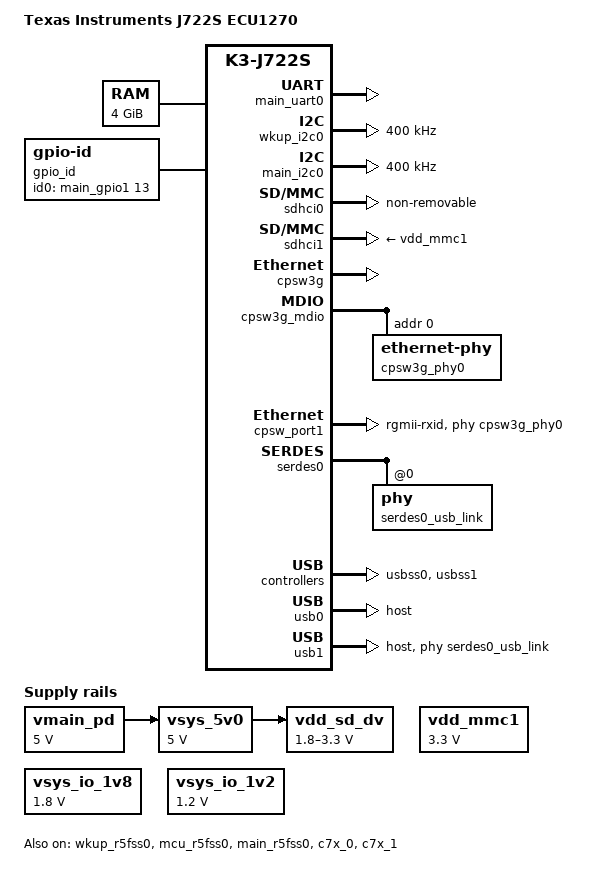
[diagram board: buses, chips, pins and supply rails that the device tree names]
// SPDX-License-Identifier: GPL-2.0-only OR MIT
/*
 * Device Tree file for the J722S ECU1270
 * Copyright (C) 2024 Texas Instruments Incorporated - https://www.ti.com/
 *
 * Schematics: https://www.ti.com/lit/zip/sprr495
 */

/dts-v1/;

#include <dt-bindings/net/ti-dp83867.h>
#include <dt-bindings/phy/phy.h>
#include "k3-j722s.dtsi"

#include "k3-serdes.h"

/ {
	compatible = "ti,j722s-ecu1270", "ti,j722s";
	model = "Texas Instruments J722S ECU1270";

	aliases {
		serial0 = &wkup_uart0;
		serial2 = &main_uart0;
        i2c0 = &main_i2c0;
        i2c1 = &wkup_i2c0;
        i2c3 = &main_i2c3;
		mmc0 = &sdhci0;
		mmc1 = &sdhci1;
		usb0 = &usb0;
		usb1 = &usb1;
		gpio0 = &main_gpio0;
		gpio1 = &main_gpio1;
	};

	chosen {
		stdout-path = &main_uart0;
	};

	memory@80000000 {
		/* 4G RAM */
		reg = <0x00000000 0x80000000 0x00000000 0x80000000>,
		      <0x00000008 0x80000000 0x00000000 0x80000000>;
		device_type = "memory";
		bootph-all;
	};

	reserved_memory: reserved-memory {
		#address-cells = <2>;
		#size-cells = <2>;
		ranges;

		secure_tfa_ddr: tfa@9e780000 {
			reg = <0x00 0x9e780000 0x00 0x80000>;
			no-map;
		};

		secure_ddr: optee@9e800000 {
			reg = <0x00 0x9e800000 0x00 0x01800000>;
			no-map;
		};

		wkup_r5fss0_core0_dma_memory_region: r5f-dma-memory@a0000000 {
			compatible = "shared-dma-pool";
			reg = <0x00 0xa0000000 0x00 0x100000>;
			no-map;
		};

		wkup_r5fss0_core0_memory_region: r5f-memory@a0100000 {
			compatible = "shared-dma-pool";
			reg = <0x00 0xa0100000 0x00 0xf00000>;
			no-map;
		};

		mcu_r5fss0_core0_dma_memory_region: mcu-r5fss-dma-memory-region@a1000000 {
			compatible = "shared-dma-pool";
			reg = <0x00 0xa1000000 0x00 0x100000>;
			no-map;
		};

		mcu_r5fss0_core0_memory_region: mcu-r5fss-memory-region@a1100000 {
			compatible = "shared-dma-pool";
			reg = <0x00 0xa1100000 0x00 0xf00000>;
			no-map;
		};

		main_r5fss0_core0_dma_memory_region: main-r5fss-dma-memory-region@a2000000 {
			compatible = "shared-dma-pool";
			reg = <0x00 0xa2000000 0x00 0x100000>;
			no-map;
		};

		main_r5fss0_core0_memory_region: main-r5fss-memory-region@a2100000 {
			compatible = "shared-dma-pool";
			reg = <0x00 0xa2100000 0x00 0xf00000>;
			no-map;
		};

		c7x_0_dma_memory_region: c7x-dma-memory@a3000000 {
			compatible = "shared-dma-pool";
			reg = <0x00 0xa3000000 0x00 0x100000>;
			no-map;
		};

		c7x_0_memory_region: c7x-memory@a3100000 {
			compatible = "shared-dma-pool";
			reg = <0x00 0xa3100000 0x00 0xf00000>;
			no-map;
		};

		c7x_1_dma_memory_region: c7x-dma-memory@a4000000 {
			compatible = "shared-dma-pool";
			reg = <0x00 0xa4000000 0x00 0x100000>;
			no-map;
		};

		c7x_1_memory_region: c7x-memory@a4100000 {
			compatible = "shared-dma-pool";
			reg = <0x00 0xa4100000 0x00 0xf00000>;
			no-map;
		};

		rtos_ipc_memory_region: ipc-memories@a5000000 {
			reg = <0x00 0xa5000000 0x00 0x00800000>; // 2G
			//reg = <0x00 0xa5000000 0x00 0x1c00000>; // 4G
			alignment = <0x1000>;
			no-map;
		};
	};

	vmain_pd: regulator-0 {
		/* TPS65988 PD CONTROLLER OUTPUT */
		compatible = "regulator-fixed";
		regulator-name = "vmain_pd";
		regulator-min-microvolt = <5000000>;
		regulator-max-microvolt = <5000000>;
		regulator-always-on;
		regulator-boot-on;
		bootph-all;
	};

	vsys_5v0: regulator-vsys5v0 {
		/* Output of LM5140 */
		compatible = "regulator-fixed";
		regulator-name = "vsys_5v0";
		regulator-min-microvolt = <5000000>;
		regulator-max-microvolt = <5000000>;
		vin-supply = <&vmain_pd>;
		regulator-always-on;
		regulator-boot-on;
	};

	vdd_mmc1: regulator-mmc1 {
		/* TPS22918DBVR */
		compatible = "regulator-fixed";
		regulator-name = "vdd_mmc1";
		regulator-min-microvolt = <3300000>;
		regulator-max-microvolt = <3300000>;
		regulator-boot-on;
		bootph-all;
	};

	vdd_sd_dv: regulator-TLV71033 {
		compatible = "regulator-gpio";
		regulator-name = "tlv71033";
		pinctrl-names = "default";
		pinctrl-0 = <&vdd_sd_dv_pins_default>;
		regulator-min-microvolt = <1800000>;
		regulator-max-microvolt = <3300000>;
		regulator-boot-on;
		vin-supply = <&vsys_5v0>;
		gpios = <&main_gpio1 49 GPIO_ACTIVE_HIGH>;
		states = <1800000 0x0>,
			 <3300000 0x1>;
	};

	vsys_io_1v8: regulator-vsys-io-1v8 {
		compatible = "regulator-fixed";
		regulator-name = "vsys_io_1v8";
		regulator-min-microvolt = <1800000>;
		regulator-max-microvolt = <1800000>;
		regulator-always-on;
		regulator-boot-on;
	};

	vsys_io_1v2: regulator-vsys-io-1v2 {
		compatible = "regulator-fixed";
		regulator-name = "vsys_io_1v2";
		regulator-min-microvolt = <1200000>;
		regulator-max-microvolt = <1200000>;
		regulator-always-on;
		regulator-boot-on;
	};

	gpio_id: gpio-id {
		compatible = "gpio-id";
		gpio-id0 = <&main_gpio1 13 GPIO_ACTIVE_HIGH>;
		bootph-all;
	};
};

&main_pmx0 {

	main_i2c0_pins_default: main-i2c0-default-pins {
		pinctrl-single,pins = <
			J722S_IOPAD(0x01e0, PIN_INPUT_PULLUP, 0) /* (D23) I2C0_SCL */
			J722S_IOPAD(0x01e4, PIN_INPUT_PULLUP, 0) /* (B22) I2C0_SDA */
		>;
		bootph-all;
	};

	main_i2c3_pins_default: main-i2c3-default-pins {
		pinctrl-single,pins = <
			J722S_IOPAD(0x0118, PIN_INPUT_PULLUP, 6) /* (H26) MMC2_CLK.I2C3_SCL */
			J722S_IOPAD(0x0120, PIN_INPUT_PULLUP, 6) /* (F27) MMC2_CMD.I2C3_SDA */
		>;
		bootph-all;
	};

	main_uart0_pins_default: main-uart0-default-pins {
		pinctrl-single,pins = <
			J722S_IOPAD(0x01c8, PIN_INPUT, 0)	/* (F19) UART0_RXD */
			J722S_IOPAD(0x01cc, PIN_OUTPUT, 0)	/* (F20) UART0_TXD */
		>;
		bootph-all;
	};

	vdd_sd_dv_pins_default: vdd-sd-dv-default-pins {
		pinctrl-single,pins = <
			J722S_IOPAD(0x0244, PIN_OUTPUT, 7) /* (A24) MMC1_SDWP.GPIO1_49 */
		>;
		bootph-all;
	};

	main_mmc1_pins_default: main-mmc1-default-pins {
		pinctrl-single,pins = <
			J722S_IOPAD(0x023c, PIN_INPUT, 0) /* (H22) MMC1_CMD */
			J722S_IOPAD(0x0234, PIN_OUTPUT, 0) /* (H24) MMC1_CLK */
			J722S_IOPAD(0x0230, PIN_INPUT, 0) /* (H23) MMC1_DAT0 */
			J722S_IOPAD(0x022c, PIN_INPUT_PULLUP, 0) /* (H20) MMC1_DAT1 */
			J722S_IOPAD(0x0228, PIN_INPUT_PULLUP, 0) /* (J23) MMC1_DAT2 */
			J722S_IOPAD(0x0224, PIN_INPUT_PULLUP, 0) /* (H25) MMC1_DAT3 */
			J722S_IOPAD(0x0240, PIN_INPUT, 0) /* (B24) MMC1_SDCD */
		>;
		bootph-all;
	};

	main_usb1_pins_default: main-usb1-default-pins {
		pinctrl-single,pins = <
			J722S_IOPAD(0x0258, PIN_INPUT, 0) /* (B27) USB1_DRVVBUS */
		>;
	};

	mdio_pins_default: mdio-default-pins {
		pinctrl-single,pins = <
			J722S_IOPAD(0x0160, PIN_OUTPUT, 0) /* (AC24) MDIO0_MDC */
			J722S_IOPAD(0x015c, PIN_INPUT, 0) /* (AD25) MDIO0_MDIO */
		>;
	};

	rgmii1_pins_default: rgmii1-default-pins {
		pinctrl-single,pins = <
			J722S_IOPAD(0x014c, PIN_INPUT, 0) /* (AC25) RGMII1_RD0 */
			J722S_IOPAD(0x0150, PIN_INPUT, 0) /* (AD27) RGMII1_RD1 */
			J722S_IOPAD(0x0154, PIN_INPUT, 0) /* (AE24) RGMII1_RD2 */
			J722S_IOPAD(0x0158, PIN_INPUT, 0) /* (AE26) RGMII1_RD3 */
			J722S_IOPAD(0x0148, PIN_INPUT, 0) /* (AE27) RGMII1_RXC */
			J722S_IOPAD(0x0144, PIN_INPUT, 0) /* (AD23) RGMII1_RX_CTL */
			J722S_IOPAD(0x0134, PIN_OUTPUT, 0) /* (AF27) RGMII1_TD0 */
			J722S_IOPAD(0x0138, PIN_OUTPUT, 0) /* (AE23) RGMII1_TD1 */
			J722S_IOPAD(0x013c, PIN_OUTPUT, 0) /* (AG25) RGMII1_TD2 */
			J722S_IOPAD(0x0140, PIN_OUTPUT, 0) /* (AF24) RGMII1_TD3 */
			J722S_IOPAD(0x0130, PIN_OUTPUT, 0) /* (AG26) RGMII1_TXC */
			J722S_IOPAD(0x012c, PIN_OUTPUT, 0) /* (AF25) RGMII1_TX_CTL */
		>;
	};

	main_gpio0_pins_default: main-gpio0-default-pins {
		pinctrl-single,pins = <
			J722S_IOPAD(0x007c, PIN_OUTPUT_PULLUP, 7) /* (T23) GPMC0_CLK.GPIO0_31 GPIO6 DO2 */
			J722S_IOPAD(0x0094, PIN_OUTPUT_PULLUP, 7) /* (P26) GPMC0_BE1n.GPIO0_36 GPIO7 DO3 */

			// RECOVERY KEY
			J722S_IOPAD(0x000c, PIN_INPUT, 7) /* (K27) OSPI0_D0.GPIO0_3 GPIO_RESETn */

			// BOARD ID
			J722S_IOPAD(0x00b8, PIN_INPUT, 7) /* (W27) VOUT0_DATA0.GPIO0_45 BID0 */
			J722S_IOPAD(0x00bc, PIN_INPUT, 7) /* (W25) VOUT0_DATA1.GPIO0_46 BID1 */

			J722S_IOPAD(0x00cc, PIN_INPUT, 7) /* (W21) VOUT0_DATA5.GPIO0_50 BID2 */
			J722S_IOPAD(0x00d0, PIN_INPUT, 7) /* (Y26) VOUT0_DATA6.GPIO0_51 BID3 */

			// POWER ENABLE
			J722S_IOPAD(0x0010, PIN_OUTPUT_PULLUP, 7) /* (L27) OSPI0_D1.GPIO0_4 COM_PWR_EN */
			J722S_IOPAD(0x00d4, PIN_OUTPUT_PULLUP, 7) /* (Y27) VOUT0_DATA7.GPIO0_52 PWR_EN1 */
			J722S_IOPAD(0x00c4, PIN_OUTPUT_PULLUP, 7) /* (W23) VOUT0_DATA3.GPIO0_48 PWR_EN2 */

			// Reset_M.2
			J722S_IOPAD(0x002c, PIN_INPUT, 7) /* (K26) OSPI0_CSn0.GPIO0_11 */

			// PCIE_RSTN1
			J722S_IOPAD(0x0028, PIN_INPUT, 7) /* (M27) OSPI0_D7.GPIO0_10 */
		>;
	};

	main_gpio1_pins_default: main-gpio1-default-pins {
		pinctrl-single,pins = <
			// RS232/485
			J722S_IOPAD(0x01f0, PIN_INPUT_PULLDOWN, 7) /* (A23) EXT_REFCLK1.GPIO1_30 COM1_SEL H-232 L-485 */
			J722S_IOPAD(0x01b0, PIN_INPUT_PULLDOWN, 7) /* (F24) MCASP0_ACLKR.GPIO1_14 COM2_SEL H-232 L-485 */

			// BOARD ID
			J722S_IOPAD(0x01a0, PIN_INPUT, 7) /* (F23) MCASP0_AXR0.GPIO1_10 */
			J722S_IOPAD(0x019c, PIN_INPUT, 7) /* (B25) MCASP0_AXR1.GPIO1_9 */

			// PWREN_M2
			J722S_IOPAD(0x0194, PIN_INPUT, 7) /* (A25) MCASP0_AXR3.GPIO1_7 */

			// MPCIE3V3_EN
			J722S_IOPAD(0x01a8, PIN_INPUT, 7) /* (C26) MCASP0_AFSX.GPIO1_12 */
		>;
	};
};

&main_gpio0 {
	status = "okay";
	pinctrl-names = "default";
	pinctrl-0 = <&main_gpio0_pins_default>;
};

&main_gpio1 {
	status = "okay";
	pinctrl-names = "default";
	pinctrl-0 = <&main_gpio1_pins_default>;
};

&mcu_gpio0 {
	status = "disabled";
};

&main_uart0 {
	pinctrl-names = "default";
	pinctrl-0 = <&main_uart0_pins_default>;
	status = "okay";
	bootph-all;
};

&mcu_pmx0 {

	wkup_uart0_pins_default: wkup-uart0-default-pins {
		pinctrl-single,pins = <
			J722S_MCU_IOPAD(0x02c, PIN_INPUT, 0)	/* (C7) WKUP_UART0_CTSn */
			J722S_MCU_IOPAD(0x030, PIN_OUTPUT, 0)	/* (C6) WKUP_UART0_RTSn */
			J722S_MCU_IOPAD(0x024, PIN_INPUT, 0)	/* (D8) WKUP_UART0_RXD */
			J722S_MCU_IOPAD(0x028, PIN_OUTPUT, 0)	/* (D7) WKUP_UART0_TXD */
		>;
		bootph-all;
	};

	wkup_i2c0_pins_default: wkup-i2c0-default-pins {
		pinctrl-single,pins = <
			J722S_MCU_IOPAD(0x04c, PIN_INPUT_PULLUP, 0)	/* (B9) WKUP_I2C0_SCL */
			J722S_MCU_IOPAD(0x050, PIN_INPUT_PULLUP, 0)	/* (D11) WKUP_I2C1_SDA */
		>;
		bootph-all;
	};
};

&wkup_uart0 {
	/* WKUP UART0 is used by Device Manager firmware */
	pinctrl-names = "default";
	pinctrl-0 = <&wkup_uart0_pins_default>;
	status = "reserved";
	bootph-all;
};

&wkup_i2c0 {
	pinctrl-names = "default";
	pinctrl-0 = <&wkup_i2c0_pins_default>;
	clock-frequency = <400000>;
	status = "okay";
	bootph-all;
};

&main_i2c0 {
	pinctrl-names = "default";
	pinctrl-0 = <&main_i2c0_pins_default>;
	clock-frequency = <400000>;
	status = "okay";
	bootph-all;
};

&sdhci0 {
	/* eMMC */
	disable-wp;
	bootph-all;
	non-removable;
	ti,driver-strength-ohm = <50>;
	status = "okay";
};

&sdhci1 {
	/* SD/MMC */
	vmmc-supply = <&vdd_mmc1>;
	vqmmc-supply = <&vdd_sd_dv>;
	pinctrl-names = "default";
	pinctrl-0 = <&main_mmc1_pins_default>;
	ti,driver-strength-ohm = <50>;
	disable-wp;
	no-1-8-v;
	status = "okay";
	bootph-all;
};

&cpsw3g {
	status = "okay";
	pinctrl-names = "default";
	pinctrl-0 = <&rgmii1_pins_default>;
};

&cpsw3g_mdio {
	status = "okay";
	pinctrl-names = "default";
	pinctrl-0 = <&mdio_pins_default>;

	cpsw3g_phy0: ethernet-phy@0 {
		reg = <0>;
		ti,rx-internal-delay = <DP83867_RGMIIDCTL_2_00_NS>;
		ti,fifo-depth = <DP83867_PHYCR_FIFO_DEPTH_4_B_NIB>;
		ti,min-output-impedance;
	};
};

&cpsw_port1 {
	phy-mode = "rgmii-rxid";
	phy-handle = <&cpsw3g_phy0>;
};

&cpsw_port2 {
	status = "disabled";
};

&mailbox0_cluster0 {
	status = "okay";
	mbox_r5_0: mbox-r5-0 {
		ti,mbox-rx = <0 0 0>;
		ti,mbox-tx = <1 0 0>;
	};
};

&mailbox0_cluster1 {
	status = "okay";
	mbox_mcu_r5_0: mbox-mcu-r5-0 {
		ti,mbox-rx = <0 0 0>;
		ti,mbox-tx = <1 0 0>;
	};
};

&mailbox0_cluster2 {
	status = "okay";
	mbox_c7x_0: mbox-c7x-0 {
		ti,mbox-rx = <0 0 0>;
		ti,mbox-tx = <1 0 0>;
	};
};

&mailbox0_cluster3 {
	status = "okay";
	mbox_main_r5_0: mbox-main-r5-0 {
		ti,mbox-rx = <0 0 0>;
		ti,mbox-tx = <1 0 0>;
	};

	mbox_c7x_1: mbox-c7x-1 {
		ti,mbox-rx = <2 0 0>;
		ti,mbox-tx = <3 0 0>;
	};
};

&wkup_r5fss0 {
	status = "okay";
};

&wkup_r5fss0_core0 {
	mboxes = <&mailbox0_cluster0 &mbox_r5_0>;
	memory-region = <&wkup_r5fss0_core0_dma_memory_region>,
			<&wkup_r5fss0_core0_memory_region>;
};

&mcu_r5fss0 {
	status = "okay";
};

&mcu_r5fss0_core0 {
	mboxes = <&mailbox0_cluster1 &mbox_mcu_r5_0>;
	memory-region = <&mcu_r5fss0_core0_dma_memory_region>,
			<&mcu_r5fss0_core0_memory_region>;
};

&main_r5fss0 {
	status = "okay";
};

&main_r5fss0_core0 {
	mboxes = <&mailbox0_cluster3 &mbox_main_r5_0>;
	memory-region = <&main_r5fss0_core0_dma_memory_region>,
			<&main_r5fss0_core0_memory_region>;
};

&c7x_0 {
	status = "okay";
	mboxes = <&mailbox0_cluster2 &mbox_c7x_0>;
	memory-region = <&c7x_0_dma_memory_region>,
			<&c7x_0_memory_region>;
};

&c7x_1 {
	status = "okay";
	mboxes = <&mailbox0_cluster3 &mbox_c7x_1>;
	memory-region = <&c7x_1_dma_memory_region>,
			<&c7x_1_memory_region>;
};

&serdes0_ln_ctrl {
	idle-states = <J722S_SERDES0_LANE0_USB>;
};

&serdes0 {
	status = "okay";
	serdes0_usb_link: phy@0 {
		reg = <0>;
		cdns,num-lanes = <1>;
		#phy-cells = <0>;
		cdns,phy-type = <PHY_TYPE_USB3>;
		resets = <&serdes_wiz0 1>;
	};
};

&usbss0 {
	status = "okay";
	ti,vbus-divider;
};

&usb0 {
	dr_mode = "host";
	usb-role-switch;
};

&usbss1 {
	status = "okay";
	pinctrl-names = "default";
	pinctrl-0 = <&main_usb1_pins_default>;
	ti,vbus-divider;
};

&usb1 {
	dr_mode = "host";
	maximum-speed = "super-speed";
	phys = <&serdes0_usb_link>;
	phy-names = "cdns3,usb3-phy";
};

